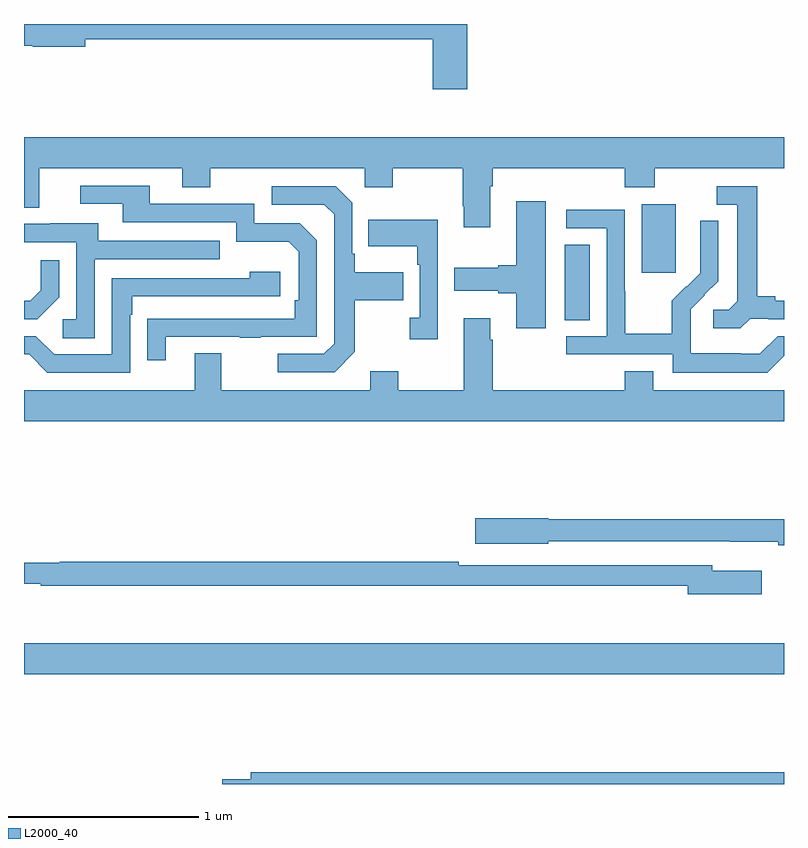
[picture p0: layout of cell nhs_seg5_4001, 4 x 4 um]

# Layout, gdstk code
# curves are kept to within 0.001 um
import gdstk
lib = gdstk.Library(unit=1e-6, precision=1e-09)
def R(c, l, rs):  # rectangles x0, y0, x1, y1
    for r in rs: c.add(gdstk.rectangle(r[:2], r[2:], *l))
def P(c, l, *ps):  # polygons
    for p in ps: c.add(gdstk.Polygon(p, *l))
L2000_40 = (2000, 40)

nhs_seg5_4001 = lib.new_cell('nhs_seg5_4001')
R(nhs_seg5_4001, L2000_40, [(345,907.376,349,907.54), (347.846,909.241,347.977,909.638), (348.251,909.489,348.43,909.85)])
P(nhs_seg5_4001, L2000_40, [(347.333,910.799),(345,910.799),(345,910.685),(345.046,910.685),(345.046,910.678),(345.322,910.678),(345.322,910.72),(347.15,910.72),(347.15,910.455),(347.333,910.455)],
  [(347.455,909.944),(347.468,909.944),(347.468,910.04),(348.161,910.04),(348.161,909.941),(348.321,909.941),(348.321,910.04),(349,910.04),(349,910.204),(345,910.204),(345,909.832),(345.079,909.832),(345.079,910.04),(345.833,910.04),(345.833,909.941),(345.981,909.941),(345.981,910.04),(346.794,910.04),(346.794,909.941),(346.941,909.941),(346.941,910.04),(347.308,910.04),(347.308,909.841),(347.315,909.841),(347.315,909.729),(347.455,909.729)],
  [(345.745,909.153),(346.135,909.153),(346.135,909.148),(346.247,909.148),(346.247,909.153),(346.542,909.153),(346.542,909.66),(346.452,909.75),(346.212,909.75),(346.212,909.852),(345.661,909.852),(345.661,909.948),(345.297,909.948),(345.297,909.852),(345.521,909.852),(345.521,909.756),(346.116,909.756),(346.116,909.653),(346.393,909.653),(346.446,909.6),(346.446,909.346),(346.426,909.346),(346.426,909.249),(345.649,909.248),(345.649,909.03),(345.745,909.03)],
  [(348.822,909.249),(348.916,909.249),(348.916,909.246),(349,909.246),(349,909.342),(348.955,909.342),(348.955,909.365),(348.859,909.365),(348.859,909.945),(348.645,909.945),(348.645,909.849),(348.755,909.849),(348.755,909.341),(348.708,909.294),(348.627,909.294),(348.627,909.197),(348.77,909.197)],
  [(346.741,909.073),(346.741,909.346),(346.997,909.346),(346.997,909.493),(346.741,909.493),(346.741,909.589),(346.728,909.589),(346.728,909.858),(346.641,909.945),(346.305,909.945),(346.305,909.849),(346.581,909.849),(346.632,909.798),(346.632,909.117),(346.578,909.063),(346.335,909.063),(346.335,908.967),(346.635,908.967)],
  [(347.746,909.865),(347.591,909.865),(347.591,909.53),(347.495,909.53),(347.495,909.517),(347.265,909.517),(347.265,909.395),(347.495,909.395),(347.495,909.383),(347.591,909.383),(347.591,909.198),(347.746,909.198)],
  [(349,909.052),(349,909.156),(348.966,909.156),(348.873,909.063),(348.773,909.063),(348.773,909.067),(348.51,909.067),(348.51,909.201),(348.508,909.201),(348.508,909.298),(348.654,909.446),(348.654,909.764),(348.558,909.764),(348.558,909.61),(348.56,909.61),(348.56,909.488),(348.489,909.417),(348.486,909.42),(348.409,909.343),(348.409,909.169),(348.165,909.169),(348.165,909.392),(348.162,909.392),(348.162,909.822),(347.853,909.822),(347.853,909.723),(348.066,909.723),(348.066,909.156),(347.853,909.156),(347.853,909.06),(348.414,909.06),(348.414,908.963),(348.911,908.963)],
  [(347.178,909.769),(346.813,909.769),(346.813,909.629),(347.07,909.629),(347.07,909.533),(347.082,909.533),(347.082,909.254),(347.031,909.254),(347.031,909.141),(347.178,909.141)],
  [(345.372,909.561),(346.031,909.561),(346.031,909.657),(345.391,909.657),(345.391,909.751),(345.137,909.751),(345.137,909.747),(345,909.747),(345,909.651),(345.276,909.651),(345.276,909.246),(345.204,909.246),(345.204,909.145),(345.372,909.145)],
  [(345.186,909.362),(345.186,909.556),(345.089,909.556),(345.089,909.399),(345.032,909.342),(345,909.342),(345,909.246),(345.07,909.246)],
  [(345.558,909.269),(345.571,909.269),(345.571,909.366),(346.348,909.366),(346.348,909.496),(346.187,909.496),(346.187,909.462),(345.462,909.462),(345.462,909.06),(345.159,909.06),(345.063,909.156),(345,909.156),(345,909.06),(345.027,909.06),(345.123,908.964),(345.558,908.964)],
  [(346.823,908.971),(346.823,908.872),(346.039,908.872),(346.039,909.067),(345.899,909.067),(345.899,908.872),(345,908.872),(345,908.708),(349,908.708),(349,908.872),(348.313,908.872),(348.313,908.971),(348.161,908.971),(348.161,908.872),(347.468,908.872),(347.468,909.137),(347.455,909.137),(347.455,909.25),(347.315,909.25),(347.315,908.872),(346.971,908.872),(346.971,908.971)],
  [(349,908.192),(347.76,908.192),(347.76,908.198),(347.376,908.198),(347.376,908.063),(347.76,908.063),(347.76,908.076),(348.718,908.076),(348.718,908.075),(348.97,908.075),(348.97,908.056),(349,908.056)],
  [(348.883,907.921),(348.622,907.921),(348.622,907.95),(347.288,907.95),(347.288,907.97),(345.188,907.97),(345.188,907.963),(345,907.963),(345,907.854),(345.088,907.854),(345.088,907.842),(348.494,907.842),(348.494,907.799),(348.883,907.799)],
  [(349,906.86),(346.193,906.86),(346.193,906.824),(346.044,906.824),(346.044,906.799),(349,906.799)])

lib.write_gds('nhs_seg5_4001.gds')
